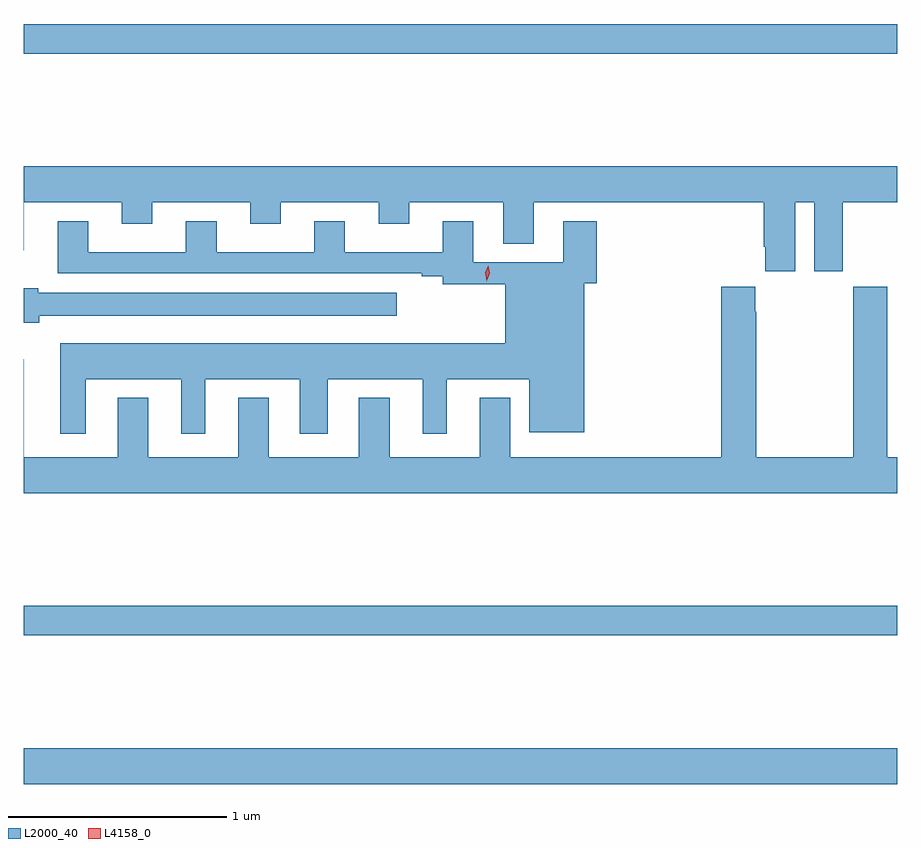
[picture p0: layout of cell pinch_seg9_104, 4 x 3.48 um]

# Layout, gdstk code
import gdstk
lib = gdstk.Library(unit=1e-6, precision=1e-09)
def R(c, l, rs):  # rectangles x0, y0, x1, y1
    for r in rs: c.add(gdstk.rectangle(r[:2], r[2:], *l))
def P(c, l, *ps):  # polygons
    for p in ps: c.add(gdstk.Polygon(p, *l))
L2000_40 = (2000, 40)
L4158_0 = (4158, 0)

pinch_seg9_104 = lib.new_cell('pinch_seg9_104')
R(pinch_seg9_104, L2000_40, [(1066.374,1171.112,1070.374,1171.276), (1066.374,1171.792,1070.374,1171.928), (1066.374,1174.456,1070.374,1174.592)])
P(pinch_seg9_104, L2000_40, [(1069.906,1173.776),(1069.994,1173.776),(1069.994,1173.459),(1070.125,1173.459),(1070.125,1173.776),(1070.374,1173.776),(1070.374,1173.94),(1066.374,1173.94),(1066.374,1173.555),(1066.375,1173.555),(1066.375,1173.776),(1066.823,1173.776),(1066.823,1173.677),(1066.963,1173.677),(1066.963,1173.776),(1067.411,1173.776),(1067.411,1173.677),(1067.551,1173.677),(1067.551,1173.776),(1067.999,1173.776),(1067.999,1173.677),(1068.139,1173.677),(1068.139,1173.776),(1068.569,1173.776),(1068.569,1173.586),(1068.709,1173.586),(1068.709,1173.776),(1069.763,1173.776),(1069.763,1173.571),(1069.769,1173.571),(1069.769,1173.459),(1069.906,1173.459)],
  [(1066.657,1172.966),(1067.096,1172.966),(1067.096,1172.715),(1067.206,1172.715),(1067.206,1172.966),(1067.639,1172.966),(1067.639,1172.715),(1067.767,1172.715),(1067.767,1172.966),(1068.2,1172.966),(1068.2,1172.715),(1068.31,1172.715),(1068.31,1172.966),(1068.689,1172.966),(1068.689,1172.723),(1068.94,1172.723),(1068.94,1173.404),(1068.998,1173.404),(1068.998,1173.688),(1068.845,1173.688),(1068.845,1173.501),(1068.433,1173.501),(1068.433,1173.688),(1068.293,1173.688),(1068.293,1173.547),(1067.845,1173.547),(1067.845,1173.688),(1067.705,1173.688),(1067.705,1173.547),(1067.257,1173.547),(1067.257,1173.688),(1067.117,1173.688),(1067.117,1173.547),(1066.669,1173.547),(1066.669,1173.688),(1066.529,1173.688),(1066.529,1173.45),(1068.197,1173.45),(1068.197,1173.438),(1068.293,1173.438),(1068.293,1173.4),(1068.578,1173.4),(1068.578,1173.13),(1066.541,1173.13),(1066.541,1172.715),(1066.657,1172.715)],
  [(1070.374,1172.608),(1070.328,1172.608),(1070.328,1173.388),(1070.173,1173.388),(1070.173,1172.608),(1069.728,1172.608),(1069.728,1173.275),(1069.723,1173.275),(1069.723,1173.388),(1069.568,1173.388),(1069.568,1172.608),(1068.601,1172.608),(1068.601,1172.881),(1068.461,1172.881),(1068.461,1172.608),(1068.049,1172.608),(1068.049,1172.881),(1067.909,1172.881),(1067.909,1172.608),(1067.497,1172.608),(1067.497,1172.881),(1067.357,1172.881),(1067.357,1172.608),(1066.945,1172.608),(1066.945,1172.881),(1066.805,1172.881),(1066.805,1172.608),(1066.375,1172.608),(1066.375,1173.058),(1066.374,1173.058),(1066.374,1172.444),(1070.374,1172.444)],
  [(1066.444,1173.257),(1068.082,1173.257),(1068.082,1173.361),(1066.44,1173.361),(1066.44,1173.382),(1066.374,1173.382),(1066.374,1173.224),(1066.444,1173.224)])
P(pinch_seg9_104, L4158_0, [(1068.495,1173.415),(1068.495,1173.416),(1068.488,1173.452),(1068.501,1173.486),(1068.502,1173.486),(1068.502,1173.486),(1068.508,1173.45),(1068.495,1173.416)])

lib.write_gds('pinch_seg9_104.gds')
